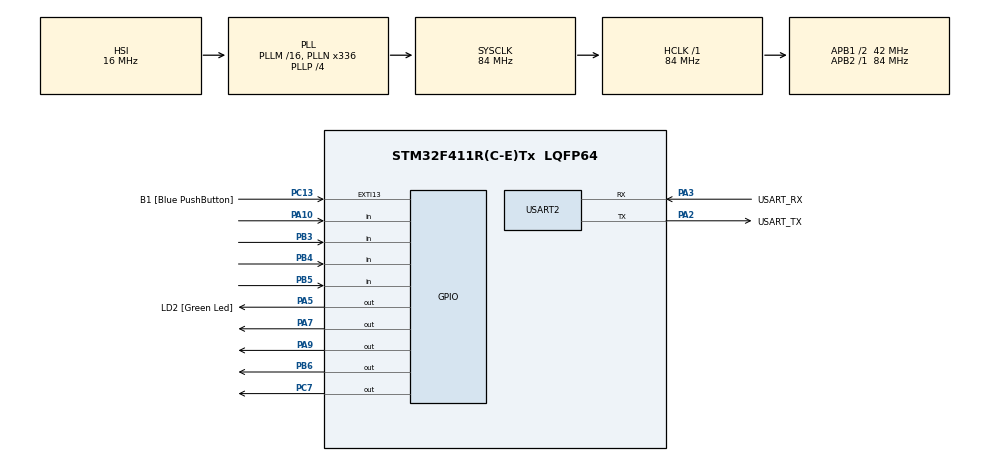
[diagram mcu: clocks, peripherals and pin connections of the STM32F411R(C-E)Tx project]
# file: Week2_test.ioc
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Mcu.Family=STM32F4
Mcu.Name=STM32F411R(C-E)Tx
Mcu.Package=LQFP64
NVIC.PriorityGroup=NVIC_PRIORITYGROUP_0
PA10.GPIO_PuPd=GPIO_PULLUP
PA10.Signal=GPIO_Input
PA13.GPIO_Label=TMS
PA13.Mode=Serial_Wire
PA13.Signal=SYS_JTMS-SWDIO
PA14.GPIO_Label=TCK
PA14.Mode=Serial_Wire
PA14.Signal=SYS_JTCK-SWCLK
PA2.GPIO_Label=USART_TX
PA2.Mode=Asynchronous
PA2.Signal=USART2_TX
PA3.GPIO_Label=USART_RX
PA3.Mode=Asynchronous
PA3.Signal=USART2_RX
PA5.GPIO_Label=LD2 [Green Led]
PA5.GPIO_ModeDefaultOutputPP=GPIO_MODE_OUTPUT_OD
PA5.PinState=GPIO_PIN_SET
PA5.Signal=GPIO_Output
PA7.GPIO_ModeDefaultOutputPP=GPIO_MODE_OUTPUT_OD
PA7.PinState=GPIO_PIN_SET
PA7.Signal=GPIO_Output
PA9.GPIO_ModeDefaultOutputPP=GPIO_MODE_OUTPUT_OD
PA9.PinState=GPIO_PIN_SET
PA9.Signal=GPIO_Output
PB3.GPIO_PuPd=GPIO_PULLUP
PB3.Signal=GPIO_Input
PB4.GPIO_PuPd=GPIO_PULLUP
PB4.Signal=GPIO_Input
PB5.GPIO_PuPd=GPIO_PULLUP
PB5.Signal=GPIO_Input
PB6.GPIO_ModeDefaultOutputPP=GPIO_MODE_OUTPUT_OD
PB6.PinState=GPIO_PIN_SET
PB6.Signal=GPIO_Output
PC13-ANTI_TAMP.GPIO_Label=B1 [Blue PushButton]
PC13-ANTI_TAMP.GPIO_ModeDefaultEXTI=GPIO_MODE_IT_FALLING
PC13-ANTI_TAMP.Signal=GPXTI13
PC14-OSC32_IN.Mode=LSE-External-Oscillator
PC14-OSC32_IN.Signal=RCC_OSC32_IN
PC15-OSC32_OUT.Mode=LSE-External-Oscillator
PC15-OSC32_OUT.Signal=RCC_OSC32_OUT
PC7.GPIO_ModeDefaultOutputPP=GPIO_MODE_OUTPUT_OD
PC7.PinState=GPIO_PIN_SET
PC7.Signal=GPIO_Output
PH0\ -\ OSC_IN.Mode=HSE-External-Clock-Source
PH0\ -\ OSC_IN.Signal=RCC_OSC_IN
PH1\ -\ OSC_OUT.Mode=HSE-External-Clock-Source
PH1\ -\ OSC_OUT.Signal=RCC_OSC_OUT
ProjectManager.HeapSize=0x200
ProjectManager.StackSize=0x400
ProjectManager.TargetToolchain=STM32CubeIDE
RCC.48MHZClocksFreq_Value=84000000
RCC.AHBFreq_Value=84000000
RCC.APB1CLKDivider=RCC_HCLK_DIV2
RCC.APB1Freq_Value=42000000
RCC.APB1TimFreq_Value=84000000
RCC.APB2Freq_Value=84000000
RCC.APB2TimFreq_Value=84000000
RCC.CortexFreq_Value=84000000
RCC.FLatency-AdvancedSettings=FLASH_LATENCY_2
RCC.HCLKFreq_Value=84000000
RCC.HSE_VALUE=8000000
RCC.HSI_VALUE=16000000
RCC.PLLN=336
RCC.PLLP=RCC_PLLP_DIV4
RCC.SYSCLKFreq_VALUE=84000000
RCC.SYSCLKSource=RCC_SYSCLKSOURCE_PLLCLK
RCC.VCOOutputFreq_Value=336000000
USART2.VirtualMode=VM_ASYNC
board=NUCLEO-F411RE

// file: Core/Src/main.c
/* USER CODE BEGIN Header */
/**
 ******************************************************************************
 * @file           : main.c
 * @brief          : Main program body
 ******************************************************************************
 * @attention
 *
 * <h2><center>&copy; Copyright (c) 2021 STMicroelectronics.
 * All rights reserved.</center></h2>
 *
 * This software component is licensed by ST under BSD 3-Clause license,
 * the "License"; You may not use this file except in compliance with the
 * License. You may obtain a copy of the License at:
 *                        opensource.org/licenses/BSD-3-Clause
 *
 ******************************************************************************
 */
/* USER CODE END Header */
#include "main.h"

UART_HandleTypeDef huart2;

/* USER CODE BEGIN PV */

uint16_t ButtonMatrixState = 0;
uint32_t ButtonMatrixTimeStamp = 0;
uint32_t ButtonMatrixTimeStamp2 = 0;
int count = 1;
int count2 = 0;
int a = 0;

/* USER CODE END PV */

void SystemClock_Config(void);
static void MX_GPIO_Init(void);
static void MX_USART2_UART_Init(void);
/* USER CODE BEGIN PFP */

void ButtonMatrixUpdate(); //Scan and Update data of Button Matrix

/* USER CODE END PFP */

int main(void) {

	/* MCU Configuration--------------------------------------------------------*/

	/* Reset of all peripherals, Initializes the Flash interface and the Systick. */
	HAL_Init();

	/* Configure the system clock */
	SystemClock_Config();

	/* Initialize all configured peripherals */
	MX_GPIO_Init();
	MX_USART2_UART_Init();
	/* USER CODE BEGIN 2 */
	//--------------------------------------------------------------------------------
	//--------------------------------------------------------------------------------
	/* USER CODE END 2 */

	/* Infinite loop */
	/* USER CODE BEGIN WHILE */

	//--------------------------------------------------------------------------------
	while (1) {
		ButtonMatrixUpdate();

		//--------------------------------------------------------------------------------
		/* USER CODE END WHILE */

	}
}

void SystemClock_Config(void) {
	RCC_OscInitTypeDef RCC_OscInitStruct = { 0 };
	RCC_ClkInitTypeDef RCC_ClkInitStruct = { 0 };

	/** Configure the main internal regulator output voltage
	 */
	__HAL_RCC_PWR_CLK_ENABLE();
	__HAL_PWR_VOLTAGESCALING_CONFIG(PWR_REGULATOR_VOLTAGE_SCALE1);
	/** Initializes the RCC Oscillators according to the specified parameters
	 * in the RCC_OscInitTypeDef structure.
	 */
	RCC_OscInitStruct.OscillatorType = RCC_OSCILLATORTYPE_HSI;
	RCC_OscInitStruct.HSIState = RCC_HSI_ON;
	RCC_OscInitStruct.HSICalibrationValue = RCC_HSICALIBRATION_DEFAULT;
	RCC_OscInitStruct.PLL.PLLState = RCC_PLL_ON;
	RCC_OscInitStruct.PLL.PLLSource = RCC_PLLSOURCE_HSI;
	RCC_OscInitStruct.PLL.PLLM = 16;
	RCC_OscInitStruct.PLL.PLLN = 336;
	RCC_OscInitStruct.PLL.PLLP = RCC_PLLP_DIV4;
	RCC_OscInitStruct.PLL.PLLQ = 4;
	if (HAL_RCC_OscConfig(&RCC_OscInitStruct) != HAL_OK) {
		Error_Handler();
	}
	/** Initializes the CPU, AHB and APB buses clocks
	 */
	RCC_ClkInitStruct.ClockType = RCC_CLOCKTYPE_HCLK | RCC_CLOCKTYPE_SYSCLK
			| RCC_CLOCKTYPE_PCLK1 | RCC_CLOCKTYPE_PCLK2;
	RCC_ClkInitStruct.SYSCLKSource = RCC_SYSCLKSOURCE_PLLCLK;
	RCC_ClkInitStruct.AHBCLKDivider = RCC_SYSCLK_DIV1;
	RCC_ClkInitStruct.APB1CLKDivider = RCC_HCLK_DIV2;
	RCC_ClkInitStruct.APB2CLKDivider = RCC_HCLK_DIV1;

	if (HAL_RCC_ClockConfig(&RCC_ClkInitStruct, FLASH_LATENCY_2) != HAL_OK) {
		Error_Handler();
	}
}

static void MX_USART2_UART_Init(void) {

	huart2.Instance = USART2;
	huart2.Init.BaudRate = 115200;
	huart2.Init.WordLength = UART_WORDLENGTH_8B;
	huart2.Init.StopBits = UART_STOPBITS_1;
	huart2.Init.Parity = UART_PARITY_NONE;
	huart2.Init.Mode = UART_MODE_TX_RX;
	huart2.Init.HwFlowCtl = UART_HWCONTROL_NONE;
	huart2.Init.OverSampling = UART_OVERSAMPLING_16;
	if (HAL_UART_Init(&huart2) != HAL_OK) {
		Error_Handler();
	}

}

static void MX_GPIO_Init(void) {
	GPIO_InitTypeDef GPIO_InitStruct = { 0 };

	/* GPIO Ports Clock Enable */
	__HAL_RCC_GPIOC_CLK_ENABLE();
	__HAL_RCC_GPIOH_CLK_ENABLE();
	__HAL_RCC_GPIOA_CLK_ENABLE();
	__HAL_RCC_GPIOB_CLK_ENABLE();

	/*Configure GPIO pin Output Level */
	HAL_GPIO_WritePin(LD2_GPIO_Port, LD2_Pin, GPIO_PIN_RESET);

	/*Configure GPIO pin Output Level */
	HAL_GPIO_WritePin(GPIOA, GPIO_PIN_7 | GPIO_PIN_9, GPIO_PIN_SET);

	/*Configure GPIO pin Output Level */
	HAL_GPIO_WritePin(GPIOC, GPIO_PIN_7, GPIO_PIN_SET);

	/*Configure GPIO pin Output Level */
	HAL_GPIO_WritePin(GPIOB, GPIO_PIN_6, GPIO_PIN_SET);

	/*Configure GPIO pin : B1_Pin */
	GPIO_InitStruct.Pin = B1_Pin;
	GPIO_InitStruct.Mode = GPIO_MODE_IT_FALLING;
	GPIO_InitStruct.Pull = GPIO_NOPULL;
	HAL_GPIO_Init(B1_GPIO_Port, &GPIO_InitStruct);

	/*Configure GPIO pin : LD2_Pin */
	GPIO_InitStruct.Pin = LD2_Pin;
	GPIO_InitStruct.Mode = GPIO_MODE_OUTPUT_PP;
	GPIO_InitStruct.Pull = GPIO_NOPULL;
	GPIO_InitStruct.Speed = GPIO_SPEED_FREQ_LOW;
	HAL_GPIO_Init(LD2_GPIO_Port, &GPIO_InitStruct);

	/*Configure GPIO pins : PA7 PA9 */
	GPIO_InitStruct.Pin = GPIO_PIN_7 | GPIO_PIN_9;
	GPIO_InitStruct.Mode = GPIO_MODE_OUTPUT_OD;
	GPIO_InitStruct.Pull = GPIO_NOPULL;
	GPIO_InitStruct.Speed = GPIO_SPEED_FREQ_LOW;
	HAL_GPIO_Init(GPIOA, &GPIO_InitStruct);

	/*Configure GPIO pin : PC7 */
	GPIO_InitStruct.Pin = GPIO_PIN_7;
	GPIO_InitStruct.Mode = GPIO_MODE_OUTPUT_OD;
	GPIO_InitStruct.Pull = GPIO_NOPULL;
	GPIO_InitStruct.Speed = GPIO_SPEED_FREQ_LOW;
	HAL_GPIO_Init(GPIOC, &GPIO_InitStruct);

	/*Configure GPIO pin : PA10 */
	GPIO_InitStruct.Pin = GPIO_PIN_10;
	GPIO_InitStruct.Mode = GPIO_MODE_INPUT;
	GPIO_InitStruct.Pull = GPIO_PULLUP;
	HAL_GPIO_Init(GPIOA, &GPIO_InitStruct);

	/*Configure GPIO pins : PB3 PB4 PB5 */
	GPIO_InitStruct.Pin = GPIO_PIN_3 | GPIO_PIN_4 | GPIO_PIN_5;
	GPIO_InitStruct.Mode = GPIO_MODE_INPUT;
	GPIO_InitStruct.Pull = GPIO_PULLUP;
	HAL_GPIO_Init(GPIOB, &GPIO_InitStruct);

	/*Configure GPIO pin : PB6 */
	GPIO_InitStruct.Pin = GPIO_PIN_6;
	GPIO_InitStruct.Mode = GPIO_MODE_OUTPUT_OD;
	GPIO_InitStruct.Pull = GPIO_NOPULL;
	GPIO_InitStruct.Speed = GPIO_SPEED_FREQ_LOW;
	HAL_GPIO_Init(GPIOB, &GPIO_InitStruct);

}

/* USER CODE BEGIN 4 */
//Function Implementation
GPIO_TypeDef *ButtonMatrixPort[8] = { GPIOA, GPIOB, GPIOB, GPIOB, GPIOA, GPIOC,
GPIOB, GPIOA };
uint16_t ButtonMatrixPin[8] = { GPIO_PIN_10, GPIO_PIN_3, GPIO_PIN_5, GPIO_PIN_4,
GPIO_PIN_9, GPIO_PIN_7, GPIO_PIN_6, GPIO_PIN_7 };
uint8_t ButtonMatrixLine = 0;

void ButtonMatrixUpdate() {
	if (HAL_GetTick() - ButtonMatrixTimeStamp >= 100) {
			ButtonMatrixTimeStamp = HAL_GetTick();
	for (int i = 0; i < 4; i++) {
		GPIO_PinState PinState = HAL_GPIO_ReadPin(ButtonMatrixPort[i],
				ButtonMatrixPin[i]);
		if (PinState == GPIO_PIN_RESET) // Button is Pressed
				{
			ButtonMatrixState |= (uint16_t) 1 << (i + ButtonMatrixLine * 4);

		} else {
			ButtonMatrixState &= ~((uint16_t) 1 << (i + ButtonMatrixLine * 4));

		}
	}

	uint8_t NowOutputPin = ButtonMatrixLine + 4;
	HAL_GPIO_WritePin(ButtonMatrixPort[NowOutputPin],
			ButtonMatrixPin[NowOutputPin], GPIO_PIN_SET);
	ButtonMatrixLine = (ButtonMatrixLine + 1) % 4;

	uint8_t NextOutputPin = ButtonMatrixLine + 4;
	HAL_GPIO_WritePin(ButtonMatrixPort[NextOutputPin],
			ButtonMatrixPin[NextOutputPin], GPIO_PIN_RESET);

		if (count2 <= 4) {
			if (ButtonMatrixState == 64 && count == 1) {

				count2 = 0;
				count = 2;

			} else if (ButtonMatrixState == 512 && count == 2
					&& ButtonMatrixState != 0) {

				count = 3;
				count2 = 0;

			} else if (ButtonMatrixState == 1024 && count == 3
					&& ButtonMatrixState != 0) {

				count += 1;
				count2 = 0;
			} else if (ButtonMatrixState == 16 && count == 4
					&& ButtonMatrixState != 0) {

				count += 1;
				count2 = 0;
			} else if (ButtonMatrixState == 4096 && count == 5
					&& ButtonMatrixState != 0) {

				count += 1;
				count2 = 0;
			} else if (ButtonMatrixState == 32 && count == 6
					&& ButtonMatrixState != 0) {

				count += 1;
				count2 = 0;
			}
			else if (HAL_GetTick() - ButtonMatrixTimeStamp2 >= 300) {
						ButtonMatrixTimeStamp2 = HAL_GetTick();

			 if (ButtonMatrixState == 4096 && count == 7
					&& ButtonMatrixState != 0) {

				count += 1;
				count2 = 0;
			}

			else if (ButtonMatrixState == 4096 && count == 8
					&& ButtonMatrixState != 0) {

				count += 1;
				count2 = 0;
			} else if (ButtonMatrixState == 4096 && count == 9
					&& ButtonMatrixState != 0) {

				count += 1;
				count2 = 0;
			}
			}else if (ButtonMatrixState == 1024 && count == 10
					&& ButtonMatrixState != 0) {

				count += 1;
			}

			else if (ButtonMatrixState == 1 && count == 11
					&& ButtonMatrixState != 0) {

				count += 1;
				count2 = 0;
			}

			 else if (ButtonMatrixState == 32768 && ButtonMatrixState != 0
					&& count == 12) {
				HAL_GPIO_WritePin(GPIOA, GPIO_PIN_5, GPIO_PIN_SET);
				count = 13;
				count2 = 0;
			 }

			 else if (ButtonMatrixState == 0)

			{
				a = 20;
			}
			else
			{
				count2 = count2 + 1;
			}
		}
		if (ButtonMatrixState == 8 && ButtonMatrixState != 0) {
						a = 0;
						count = 1;
						count2 = 0;
						HAL_GPIO_WritePin(GPIOA, GPIO_PIN_5, GPIO_PIN_RESET);
		}

	}
}

/* USER CODE END 4 */

void Error_Handler(void) {
	__disable_irq();
	while (1) {
	}
}

/************************ (C) COPYRIGHT STMicroelectronics *****END OF FILE****/
